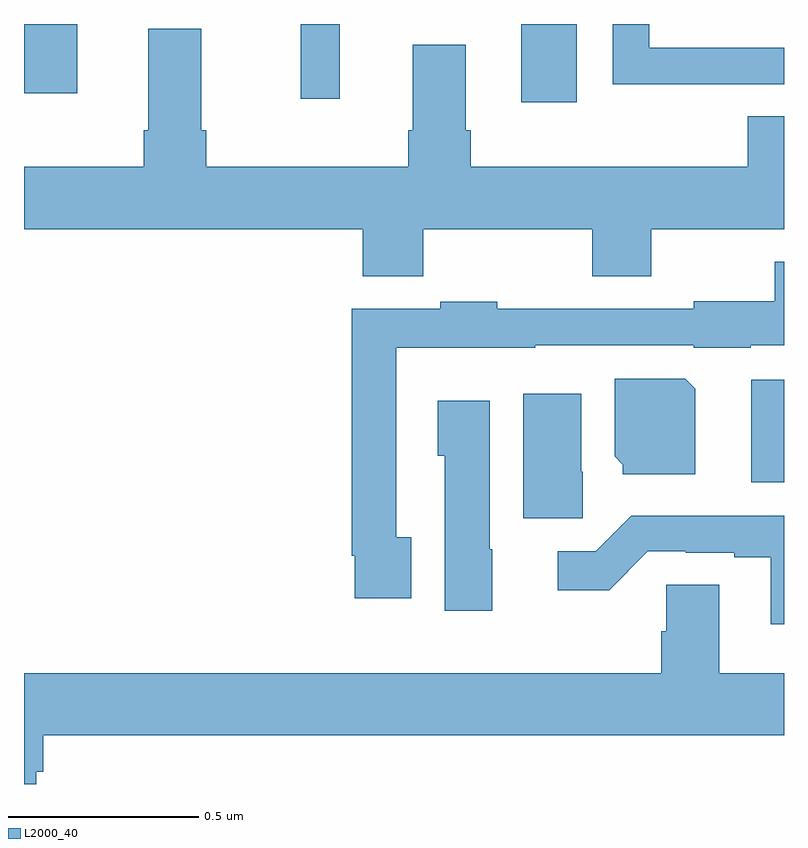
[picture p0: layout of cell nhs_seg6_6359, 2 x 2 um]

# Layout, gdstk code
import gdstk
lib = gdstk.Library(unit=1e-6, precision=1e-09)
def R(c, l, rs):  # rectangles x0, y0, x1, y1
    for r in rs: c.add(gdstk.rectangle(r[:2], r[2:], *l))
def P(c, l, *ps):  # polygons
    for p in ps: c.add(gdstk.Polygon(p, *l))
L2000_40 = (2000, 40)

nhs_seg6_6359 = lib.new_cell('nhs_seg6_6359')
R(nhs_seg6_6359, L2000_40, [(195.914,989.294,196,989.564), (195.308,990.294,195.454,990.5), (194.728,990.303,194.831,990.5), (194,990.318,194.14,990.5)])
P(nhs_seg6_6359, L2000_40, [(195.821,990.342),(196,990.342),(196,990.438),(195.645,990.438),(195.645,990.5),(195.549,990.5),(195.549,990.341),(195.821,990.341)],
  [(195.051,989.96),(195.496,989.96),(195.496,989.836),(195.651,989.836),(195.651,989.96),(196,989.96),(196,990.257),(195.905,990.257),(195.905,990.124),(195.176,990.124),(195.176,990.22),(195.163,990.22),(195.163,990.445),(195.023,990.445),(195.023,990.22),(195.011,990.22),(195.011,990.124),(194.48,990.124),(194.48,990.22),(194.467,990.22),(194.467,990.487),(194.327,990.487),(194.327,990.22),(194.315,990.22),(194.315,990.124),(194,990.124),(194,989.96),(194.891,989.96),(194.891,989.836),(195.051,989.836)],
  [(195.019,989.15),(194.979,989.15),(194.979,989.648),(195.345,989.648),(195.345,989.655),(195.762,989.655),(195.762,989.648),(195.912,989.648),(195.912,989.654),(196,989.654),(196,989.875),(195.975,989.875),(195.975,989.77),(195.762,989.77),(195.762,989.751),(195.246,989.751),(195.246,989.769),(195.096,989.769),(195.096,989.751),(194.863,989.751),(194.863,989.101),(194.871,989.101),(194.871,988.989),(195.019,988.989)],
  [(195.766,989.54),(195.74,989.566),(195.554,989.566),(195.554,989.362),(195.576,989.34),(195.576,989.315),(195.766,989.315)],
  [(195.47,989.322),(195.466,989.322),(195.466,989.527),(195.314,989.527),(195.314,989.199),(195.47,989.199)],
  [(195.232,989.118),(195.226,989.118),(195.226,989.509),(195.089,989.509),(195.089,989.364),(195.107,989.364),(195.107,988.956),(195.232,988.956)],
  [(196,989.206),(195.598,989.206),(195.504,989.112),(195.405,989.112),(195.405,989.01),(195.54,989.01),(195.642,989.112),(195.742,989.112),(195.742,989.109),(195.869,989.109),(195.869,989.097),(195.965,989.097),(195.965,988.92),(196,988.92)],
  [(194.032,988.532),(194.051,988.532),(194.051,988.628),(196,988.628),(196,988.792),(195.829,988.792),(195.829,989.024),(195.69,989.024),(195.69,988.902),(195.677,988.902),(195.677,988.792),(194,988.792),(194,988.5),(194.032,988.5)])

lib.write_gds('nhs_seg6_6359.gds')
